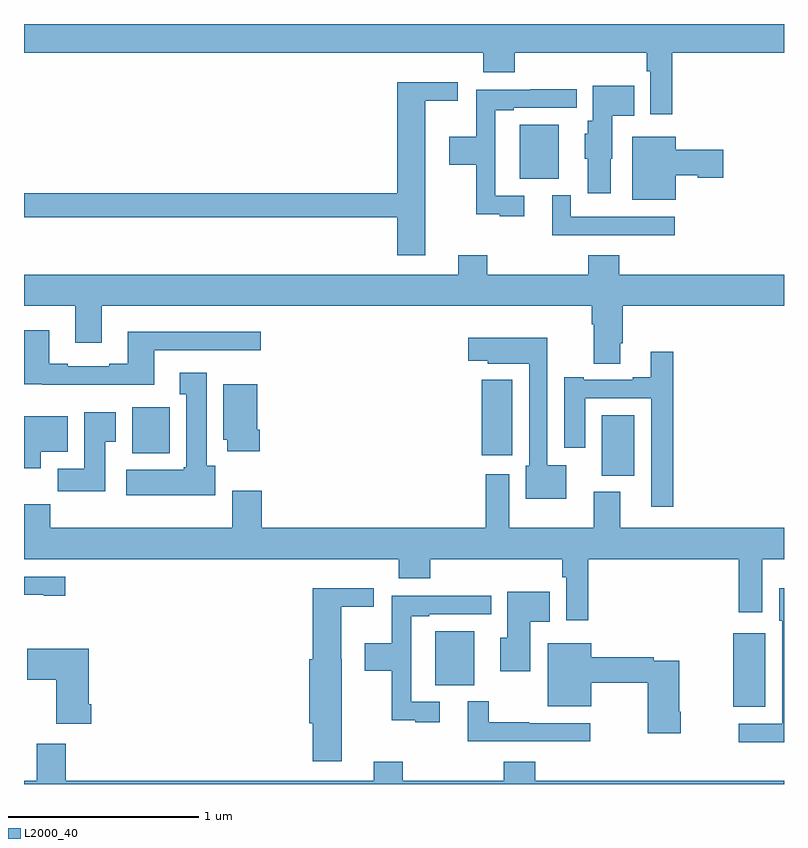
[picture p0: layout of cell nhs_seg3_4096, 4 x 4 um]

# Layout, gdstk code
import gdstk
lib = gdstk.Library(unit=1e-6, precision=1e-09)
def R(c, l, rs):  # rectangles x0, y0, x1, y1
    for r in rs: c.add(gdstk.rectangle(r[:2], r[2:], *l))
def P(c, l, *ps):  # polygons
    for p in ps: c.add(gdstk.Polygon(p, *l))
L2000_40 = (2000, 40)

nhs_seg3_4096 = lib.new_cell('nhs_seg3_4096')
R(nhs_seg3_4096, L2000_40, [(330.734,698.807,330.901,699.193), (329.165,698.921,329.371,699.205), (330.041,700.022,330.211,700.342), (329.408,700.131,329.569,700.528), (327.569,700.142,327.766,700.384), (329.609,701.585,329.815,701.869)])
P(nhs_seg3_4096, L2000_40, [(330.413,702.248),(331,702.248),(331,702.4),(327,702.4),(327,702.248),(329.417,702.248),(329.417,702.146),(329.582,702.146),(329.582,702.248),(330.277,702.248),(330.277,702.152),(330.297,702.152),(330.297,701.925),(330.413,701.925)],
  [(329.113,701.996),(329.284,701.996),(329.284,702.094),(328.964,702.094),(328.964,701.51),(327,701.51),(327,701.382),(328.964,701.382),(328.964,701.184),(329.113,701.184)],
  [(330.088,701.691),(330.097,701.691),(330.097,701.918),(330.212,701.918),(330.212,702.076),(329.993,702.076),(329.993,701.892),(329.966,701.892),(329.966,701.823),(329.951,701.823),(329.951,701.691),(329.966,701.691),(329.966,701.508),(330.088,701.508)],
  [(329.632,701.496),(329.481,701.496),(329.481,701.946),(329.578,701.946),(329.578,701.958),(329.908,701.958),(329.908,702.056),(329.665,702.056),(329.665,702.054),(329.38,702.054),(329.38,701.806),(329.238,701.806),(329.238,701.659),(329.38,701.659),(329.38,701.399),(329.504,701.399),(329.504,701.388),(329.632,701.388)],
  [(330.43,701.603),(330.546,701.603),(330.546,701.591),(330.679,701.591),(330.679,701.738),(330.43,701.738),(330.43,701.806),(330.2,701.806),(330.2,701.474),(330.43,701.474)],
  [(330.424,701.385),(329.877,701.385),(329.877,701.5),(329.78,701.5),(329.78,701.289),(330.424,701.289)],
  [(330.139,700.72),(330.152,700.72),(330.152,700.916),(331,700.916),(331,701.08),(330.134,701.08),(330.134,701.182),(329.969,701.182),(329.969,701.08),(329.438,701.08),(329.438,701.182),(329.285,701.182),(329.285,701.08),(327,701.08),(327,700.916),(327.269,700.916),(327.269,700.722),(327.409,700.722),(327.409,700.916),(329.987,700.916),(329.987,700.82),(329.999,700.82),(329.999,700.612),(330.139,700.612)],
  [(327.685,700.683),(328.246,700.683),(328.246,700.78),(327.545,700.78),(327.545,700.612),(327.449,700.612),(327.449,700.599),(327.229,700.599),(327.229,700.612),(327.133,700.612),(327.133,700.789),(327,700.789),(327,700.503),(327.097,700.503),(327.097,700.502),(327.685,700.502)],
  [(329.854,700.078),(329.754,700.078),(329.754,700.75),(329.337,700.75),(329.337,700.628),(329.442,700.628),(329.442,700.613),(329.658,700.613),(329.658,700.074),(329.642,700.074),(329.642,699.902),(329.854,699.902)],
  [(330.416,700.675),(330.299,700.675),(330.299,700.54),(330.203,700.54),(330.203,700.527),(329.947,700.527),(329.947,700.54),(329.843,700.54),(329.843,700.17),(329.953,700.17),(329.953,700.431),(330.3,700.431),(330.3,699.858),(330.416,699.858)],
  [(328.006,700.074),(327.961,700.074),(327.961,700.564),(327.821,700.564),(327.821,700.451),(327.854,700.451),(327.854,700.068),(327.841,700.068),(327.841,700.054),(327.537,700.054),(327.537,699.92),(328.006,699.92)],
  [(328.241,700.264),(328.228,700.264),(328.228,700.504),(328.049,700.504),(328.049,700.212),(328.07,700.212),(328.07,700.152),(328.241,700.152)],
  [(327.427,700.201),(327.484,700.201),(327.484,700.357),(327.317,700.357),(327.317,700.06),(327.178,700.06),(327.178,699.942),(327.427,699.942)],
  [(327.088,700.148),(327.229,700.148),(327.229,700.336),(327,700.336),(327,700.061),(327.088,700.061)],
  [(329.969,699.584),(330.761,699.584),(330.761,699.303),(330.886,699.303),(330.886,699.584),(331,699.584),(331,699.748),(330.139,699.748),(330.139,699.937),(329.999,699.937),(329.999,699.748),(329.554,699.748),(329.554,700.03),(329.429,700.03),(329.429,699.748),(328.25,699.748),(328.25,699.943),(328.097,699.943),(328.097,699.748),(327.137,699.748),(327.137,699.872),(327,699.872),(327,699.584),(328.973,699.584),(328.973,699.482),(329.138,699.482),(329.138,699.584),(329.833,699.584),(329.833,699.488),(329.853,699.488),(329.853,699.261),(329.969,699.261)],
  [(327.217,699.492),(327,699.492),(327,699.396),(327.104,699.396),(327.104,699.391),(327.217,699.391)],
  [(328.672,699.057),(328.669,699.057),(328.669,699.332),(328.84,699.332),(328.84,699.43),(328.52,699.43),(328.52,699.057),(328.502,699.057),(328.502,698.721),(328.52,698.721),(328.52,698.52),(328.672,698.52)],
  [(331,699.43),(330.974,699.43),(330.974,699.258),(330.99,699.258),(330.99,698.718),(330.762,698.718),(330.762,698.621),(331,698.621)],
  [(329.665,699.254),(329.768,699.254),(329.768,699.412),(329.543,699.412),(329.543,699.171),(329.507,699.171),(329.507,698.993),(329.665,698.993)],
  [(329.188,698.832),(329.037,698.832),(329.037,699.282),(329.134,699.282),(329.134,699.294),(329.458,699.294),(329.458,699.392),(329.221,699.392),(329.221,699.39),(328.936,699.39),(328.936,699.142),(328.794,699.142),(328.794,698.995),(328.936,698.995),(328.936,698.735),(329.06,698.735),(329.06,698.724),(329.188,698.724)],
  [(330.456,698.779),(330.448,698.779),(330.448,699.048),(330.314,699.048),(330.314,699.068),(329.986,699.068),(329.986,699.142),(329.756,699.142),(329.756,698.81),(329.986,698.81),(329.986,698.932),(330.283,698.932),(330.283,698.667),(330.456,698.667)],
  [(327.353,698.821),(327.34,698.821),(327.34,699.112),(327.018,699.112),(327.018,698.95),(327.17,698.95),(327.17,698.717),(327.353,698.717)],
  [(329.98,698.721),(329.66,698.721),(329.66,698.726),(329.446,698.726),(329.446,698.836),(329.336,698.836),(329.336,698.625),(329.98,698.625)],
  [(331,698.416),(329.69,698.416),(329.69,698.518),(329.525,698.518),(329.525,698.416),(328.994,698.416),(328.994,698.518),(328.841,698.518),(328.841,698.416),(327.221,698.416),(327.221,698.611),(327.068,698.611),(327.068,698.416),(327,698.416),(327,698.4),(331,698.4)])

lib.write_gds('nhs_seg3_4096.gds')
